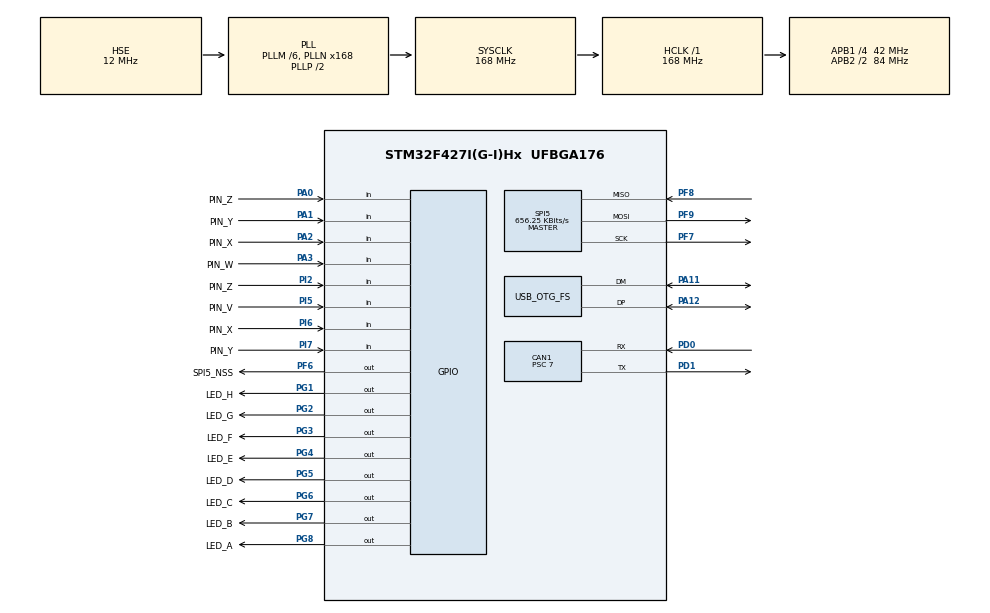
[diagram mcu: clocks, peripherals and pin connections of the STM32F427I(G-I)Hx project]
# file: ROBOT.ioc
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CAN1.BS1=CAN_BS1_2TQ
CAN1.BS2=CAN_BS2_3TQ
CAN1.CalculateBaudRate=999999
CAN1.CalculateTimeBit=1000
CAN1.CalculateTimeQuantum=166.66666666666669
CAN1.Prescaler=7
CAN1.TXFP=ENABLE
FREERTOS.Tasks01=defaultTask,24,128,StartDefaultTask,Default,NULL,Dynamic,NULL,NULL;Blink_LED_A,8,128,Blink_LED_A_t,Default,NULL,Dynamic,NULL,NULL;Blink_LED_B,8,128,Blink_LED_B_t,Default,NULL,Dynamic,NULL,NULL;Blink_LED_C,8,128,Blink_LED_C_t,Default,NULL,Dynamic,NULL,NULL;myTask05,8,128,StartTask05,Default,NULL,Dynamic,NULL,NULL
FREERTOS.configUSE_NEWLIB_REENTRANT=1
Mcu.Family=STM32F4
Mcu.Name=STM32F427I(G-I)Hx
Mcu.Package=UFBGA176
NVIC.OTG_FS_IRQn=true\:5\:0\:false\:false\:true\:true\:false\:true\:true
NVIC.PriorityGroup=NVIC_PRIORITYGROUP_4
NVIC.TIM5_IRQn=true\:15\:0\:false\:false\:true\:false\:false\:true\:true
NVIC.TimeBase=TIM5_IRQn
NVIC.TimeBaseIP=TIM5
PA0/WKUP.GPIO_Label=PIN_Z
PA0/WKUP.Signal=GPIO_Input
PA1.GPIO_Label=PIN_Y
PA1.Signal=GPIO_Input
PA11.Mode=Device_Only
PA11.Signal=USB_OTG_FS_DM
PA12.Mode=Device_Only
PA12.Signal=USB_OTG_FS_DP
PA13.Mode=Serial_Wire
PA13.Signal=SYS_JTMS-SWDIO
PA14.Mode=Serial_Wire
PA14.Signal=SYS_JTCK-SWCLK
PA2.GPIO_Label=PIN_X
PA2.Signal=GPIO_Input
PA3.GPIO_Label=PIN_W
PA3.Signal=GPIO_Input
PD0.Mode=CAN_Activate
PD0.Signal=CAN1_RX
PD1.Mode=CAN_Activate
PD1.Signal=CAN1_TX
PF6.GPIO_Label=SPI5_NSS
PF6.Signal=GPIO_Output
PF7.Mode=Full_Duplex_Master
PF7.Signal=SPI5_SCK
PF8.Mode=Full_Duplex_Master
PF8.Signal=SPI5_MISO
PF9.Mode=Full_Duplex_Master
PF9.Signal=SPI5_MOSI
PG1.GPIO_Label=LED_H
PG1.Signal=GPIO_Output
PG2.GPIO_Label=LED_G
PG2.Signal=GPIO_Output
PG3.GPIO_Label=LED_F
PG3.Signal=GPIO_Output
PG4.GPIO_Label=LED_E
PG4.Signal=GPIO_Output
PG5.GPIO_Label=LED_D
PG5.Signal=GPIO_Output
PG6.GPIO_Label=LED_C
PG6.Signal=GPIO_Output
PG7.GPIO_Label=LED_B
PG7.Signal=GPIO_Output
PG8.GPIO_Label=LED_A
PG8.Signal=GPIO_Output
PH0/OSC_IN.Mode=HSE-External-Oscillator
PH0/OSC_IN.Signal=RCC_OSC_IN
PH1/OSC_OUT.Mode=HSE-External-Oscillator
PH1/OSC_OUT.Signal=RCC_OSC_OUT
PI2.GPIO_Label=PIN_Z
PI2.Signal=GPIO_Input
PI5.GPIO_Label=PIN_V
PI5.Signal=GPIO_Input
PI6.GPIO_Label=PIN_X
PI6.Signal=GPIO_Input
PI7.GPIO_Label=PIN_Y
PI7.Signal=GPIO_Input
ProjectManager.HeapSize=0x200
ProjectManager.StackSize=0x400
ProjectManager.TargetToolchain=STM32CubeIDE
RCC.48MHZClocksFreq_Value=48000000
RCC.AHBFreq_Value=168000000
RCC.APB1CLKDivider=RCC_HCLK_DIV4
RCC.APB1Freq_Value=42000000
RCC.APB1TimFreq_Value=84000000
RCC.APB2CLKDivider=RCC_HCLK_DIV2
RCC.APB2Freq_Value=84000000
RCC.APB2TimFreq_Value=168000000
RCC.CortexFreq_Value=168000000
RCC.HCLKFreq_Value=168000000
RCC.HSE_VALUE=12000000
RCC.HSI_VALUE=16000000
RCC.LSE_VALUE=32768
RCC.PLLM=6
RCC.PLLN=168
RCC.PLLQ=7
RCC.SYSCLKFreq_VALUE=168000000
RCC.SYSCLKSource=RCC_SYSCLKSOURCE_PLLCLK
RCC.VCOOutputFreq_Value=336000000
SPI5.BaudRatePrescaler=SPI_BAUDRATEPRESCALER_128
SPI5.CalculateBaudRate=656.25 KBits/s
SPI5.Direction=SPI_DIRECTION_2LINES
SPI5.Mode=SPI_MODE_MASTER
SPI5.VirtualType=VM_MASTER
USB_DEVICE.CLASS_NAME_FS=CDC
USB_DEVICE.VirtualMode-CDC_FS=Cdc
USB_DEVICE.VirtualModeFS=Cdc_FS
USB_OTG_FS.VirtualMode=Device_Only
VP_FREERTOS_VS_CMSIS_V2.Mode=CMSIS_V2
VP_SYS_VS_tim5.Mode=TIM5
VP_USB_DEVICE_VS_USB_DEVICE_CDC_FS.Mode=CDC_FS
board=custom

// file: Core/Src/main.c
/* USER CODE BEGIN Header */
/**
  ******************************************************************************
  * @file           : main.c
  * @brief          : Main program body
  ******************************************************************************
  * @attention
  *
  * Copyright (c) 2024 STMicroelectronics.
  * All rights reserved.
  *
  * This software is licensed under terms that can be found in the LICENSE file
  * in the root directory of this software component.
  * If no LICENSE file comes with this software, it is provided AS-IS.
  *
  ******************************************************************************
  */
/* USER CODE END Header */
#include "main.h"
#include "cmsis_os.h"
#include "can.h"
#include "spi.h"
#include "usb_device.h"
#include "gpio.h"

/* USER CODE BEGIN Includes */
#include "../../applications/Inc/init.h"
/* USER CODE END Includes */

void SystemClock_Config(void);
void MX_FREERTOS_Init(void);

int main(void)
{

  /* MCU Configuration--------------------------------------------------------*/

  /* Reset of all peripherals, Initializes the Flash interface and the Systick. */
  HAL_Init();

  /* Configure the system clock */
  SystemClock_Config();

  /* Initialize all configured peripherals */
  MX_GPIO_Init();
  MX_SPI5_Init();
  MX_CAN1_Init();
  /* USER CODE BEGIN 2 */
  app_init();
  /* USER CODE END 2 */

  /* Init scheduler */
  osKernelInitialize();

  /* Call init function for freertos objects (in freertos.c) */
  MX_FREERTOS_Init();

  /* Start scheduler */
  osKernelStart();

  /* We should never get here as control is now taken by the scheduler */
  /* Infinite loop */
  while (1)
  {

  }
}

void SystemClock_Config(void)
{
  RCC_OscInitTypeDef RCC_OscInitStruct = {0};
  RCC_ClkInitTypeDef RCC_ClkInitStruct = {0};

  /** Configure the main internal regulator output voltage
  */
  __HAL_RCC_PWR_CLK_ENABLE();
  __HAL_PWR_VOLTAGESCALING_CONFIG(PWR_REGULATOR_VOLTAGE_SCALE1);

  /** Initializes the RCC Oscillators according to the specified parameters
  * in the RCC_OscInitTypeDef structure.
  */
  RCC_OscInitStruct.OscillatorType = RCC_OSCILLATORTYPE_HSE;
  RCC_OscInitStruct.HSEState = RCC_HSE_ON;
  RCC_OscInitStruct.PLL.PLLState = RCC_PLL_ON;
  RCC_OscInitStruct.PLL.PLLSource = RCC_PLLSOURCE_HSE;
  RCC_OscInitStruct.PLL.PLLM = 6;
  RCC_OscInitStruct.PLL.PLLN = 168;
  RCC_OscInitStruct.PLL.PLLP = RCC_PLLP_DIV2;
  RCC_OscInitStruct.PLL.PLLQ = 7;
  if (HAL_RCC_OscConfig(&RCC_OscInitStruct) != HAL_OK)
  {
    Error_Handler();
  }

  /** Initializes the CPU, AHB and APB buses clocks
  */
  RCC_ClkInitStruct.ClockType = RCC_CLOCKTYPE_HCLK|RCC_CLOCKTYPE_SYSCLK
                              |RCC_CLOCKTYPE_PCLK1|RCC_CLOCKTYPE_PCLK2;
  RCC_ClkInitStruct.SYSCLKSource = RCC_SYSCLKSOURCE_PLLCLK;
  RCC_ClkInitStruct.AHBCLKDivider = RCC_SYSCLK_DIV1;
  RCC_ClkInitStruct.APB1CLKDivider = RCC_HCLK_DIV4;
  RCC_ClkInitStruct.APB2CLKDivider = RCC_HCLK_DIV2;

  if (HAL_RCC_ClockConfig(&RCC_ClkInitStruct, FLASH_LATENCY_5) != HAL_OK)
  {
    Error_Handler();
  }
}

void HAL_TIM_PeriodElapsedCallback(TIM_HandleTypeDef *htim)
{
  if (htim->Instance == TIM5) {
    HAL_IncTick();
  }
}

void Error_Handler(void)
{
  __disable_irq();
  while (1)
  {
  }
}

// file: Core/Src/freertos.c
/* USER CODE BEGIN Header */
/**
  ******************************************************************************
  * File Name          : freertos.c
  * Description        : Code for freertos applications
  ******************************************************************************
  * @attention
  *
  * Copyright (c) 2024 STMicroelectronics.
  * All rights reserved.
  *
  * This software is licensed under terms that can be found in the LICENSE file
  * in the root directory of this software component.
  * If no LICENSE file comes with this software, it is provided AS-IS.
  *
  ******************************************************************************
  */
/* USER CODE END Header */

#include "FreeRTOS.h"
#include "task.h"
#include "main.h"
#include "cmsis_os.h"

/* USER CODE BEGIN Includes */
#include "../../gpio/Inc/test_sanity.h"
#include "../../imu/Inc/bsp_imu.h"
/* USER CODE END Includes */

/* USER CODE BEGIN Variables */
uint8_t reading_Z = 0;
uint8_t* p_reading_Z = &reading_Z;
/* USER CODE END Variables */
/* Definitions for defaultTask */
osThreadId_t defaultTaskHandle;
const osThreadAttr_t defaultTask_attributes = {
  .name = "defaultTask",
  .stack_size = 128 * 4,
  .priority = (osPriority_t) osPriorityNormal,
};
/* Definitions for Blink_LED_A */
osThreadId_t Blink_LED_AHandle;
const osThreadAttr_t Blink_LED_A_attributes = {
  .name = "Blink_LED_A",
  .stack_size = 128 * 4,
  .priority = (osPriority_t) osPriorityLow,
};
/* Definitions for Blink_LED_B */
osThreadId_t Blink_LED_BHandle;
const osThreadAttr_t Blink_LED_B_attributes = {
  .name = "Blink_LED_B",
  .stack_size = 128 * 4,
  .priority = (osPriority_t) osPriorityLow,
};
/* Definitions for Blink_LED_C */
osThreadId_t Blink_LED_CHandle;
const osThreadAttr_t Blink_LED_C_attributes = {
  .name = "Blink_LED_C",
  .stack_size = 128 * 4,
  .priority = (osPriority_t) osPriorityLow,
};
/* Definitions for myTask05 */
osThreadId_t myTask05Handle;
const osThreadAttr_t myTask05_attributes = {
  .name = "myTask05",
  .stack_size = 128 * 4,
  .priority = (osPriority_t) osPriorityLow,
};

void StartDefaultTask(void *argument);
void Blink_LED_A_t(void *argument);
void Blink_LED_B_t(void *argument);
void Blink_LED_C_t(void *argument);
void StartTask05(void *argument);

extern void MX_USB_DEVICE_Init(void);
void MX_FREERTOS_Init(void); /* (MISRA C 2004 rule 8.1) */

void MX_FREERTOS_Init(void) {

  /* Create the thread(s) */
  /* creation of defaultTask */
  defaultTaskHandle = osThreadNew(StartDefaultTask, NULL, &defaultTask_attributes);

  /* creation of Blink_LED_A */
  Blink_LED_AHandle = osThreadNew(Blink_LED_A_t, NULL, &Blink_LED_A_attributes);

  /* creation of Blink_LED_B */
  Blink_LED_BHandle = osThreadNew(Blink_LED_B_t, NULL, &Blink_LED_B_attributes);

  /* creation of Blink_LED_C */
  Blink_LED_CHandle = osThreadNew(Blink_LED_C_t, NULL, &Blink_LED_C_attributes);

  /* creation of myTask05 */
  myTask05Handle = osThreadNew(StartTask05, NULL, &myTask05_attributes);

}

void StartDefaultTask(void *argument)
{
  /* init code for USB_DEVICE */
  MX_USB_DEVICE_Init();
  for(;;)
  {
    osDelay(1);
  }
}

void Blink_LED_A_t(void *argument)
{
  /* USER CODE BEGIN Blink_LED_A_t */
  /* Infinite loop */
  for(;;)
  {
	*p_reading_Z = read_pin_Z();
    osDelay(1);
  }
  /* USER CODE END Blink_LED_A_t */
}

void Blink_LED_B_t(void *argument)
{
  /* USER CODE BEGIN Blink_LED_B_t */
  /* Infinite loop */
  for(;;)
  {
	  if (reading_Z == GPIO_PIN_SET){
		  HAL_GPIO_WritePin(LED_A_GPIO_Port, LED_A_Pin, GPIO_PIN_SET);
	  }
	  else {
		  HAL_GPIO_WritePin(LED_A_GPIO_Port, LED_A_Pin, GPIO_PIN_RESET);
	  }
    osDelay(1);
  }
  /* USER CODE END Blink_LED_B_t */
}

void Blink_LED_C_t(void *argument)
{
  /* USER CODE BEGIN Blink_LED_C_t */
	  mpu_device_init();
	  init_quaternion();
  /* Infinite loop */
  for(;;)
  {
	  for (uint16_t i = 0; i < 1000000; i++){
	  	  mpu_get_data();
	  	  imu_ahrs_update();
	  	  imu_attitude_update();
	  	}
  }
  /* USER CODE END Blink_LED_C_t */
}

void StartTask05(void *argument)
{
  for(;;)
  {
    osDelay(1);
  }
}
